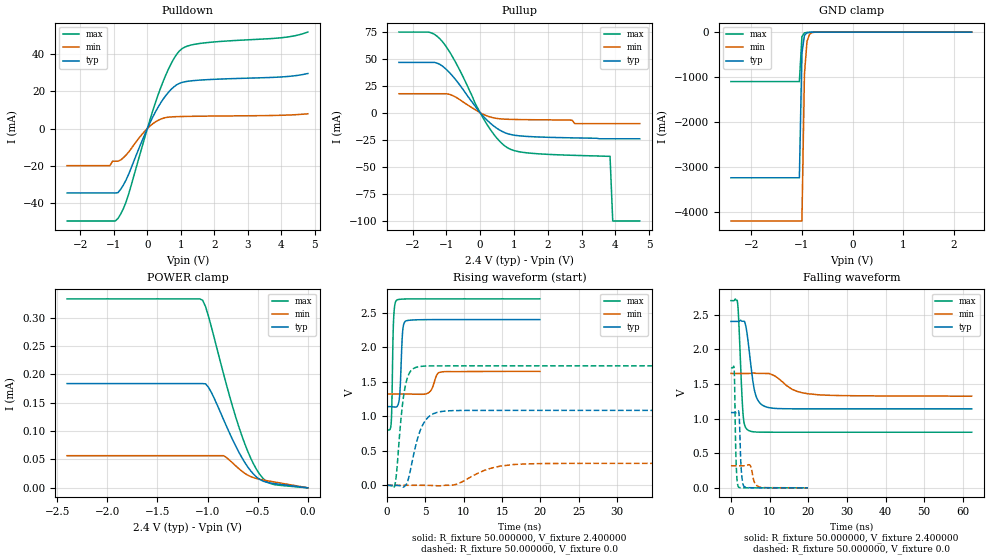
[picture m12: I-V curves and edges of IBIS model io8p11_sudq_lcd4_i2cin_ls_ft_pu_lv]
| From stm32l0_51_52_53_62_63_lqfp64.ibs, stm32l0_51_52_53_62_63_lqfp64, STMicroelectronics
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|   Model io8p11_sudq_lcd4_i2cin_ls_ft_pu_lv
[Model]  io8p11_sudq_lcd4_i2cin_ls_ft_pu_lv
Model_type I/O
Polarity   Non-Inverting
Enable   Active-Low
Vinl =   0.720000V
Vinh =   1.680000V
Vmeas =  1.200000V
Cref =   50.000000pF
Rref =   100.000000M
Vref =   0.0V
C_comp   2.470900pF   2.435200pF   2.490500pF
[Temperature Range]   25.000000   0.105000k   -40.000000
[Pullup Reference]   2.400000V   1.650000V   2.700000V
[Pulldown Reference]   0.0V   0.0V   0.0V
[POWER Clamp Reference]   2.400000V   1.650000V   2.700000V
[GND Clamp Reference]   0.0V   0.0V   0.0V
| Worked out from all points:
|   slope of the pulldown table from 0 to 0.36 V, typ, clamps not added: 28.5 ohm
|   slope of the pullup table from 0 to 0.36 V, typ, clamps not added: 32.2 ohm
|   GND clamp passes 1 mA (typ) near -0.64 V on its own axis
|   rising waveform, R_fixture 50.000000, V_fixture 2.400000: 20-80 % time 284ps typ, 635ps min, 195ps max; typ from 1.14 V to 2.4 V
|   rising waveform, R_fixture 50.000000, V_fixture 0.0: 20-80 % time 1.58ns typ, 3.82ns min, 923ps max; typ from 0.001 V to 1.09 V
|   falling waveform, R_fixture 50.000000, V_fixture 2.400000: 20-80 % time 1.79ns typ, 5.22ns min, 901ps max; typ from 2.4 V to 1.14 V
|   falling waveform, R_fixture 50.000000, V_fixture 0.0: 20-80 % time 466ps typ, 846ps min, 367ps max; typ from 1.09 V to 0.001 V
[Pulldown]
|Voltage   I(typ)   I(min)   I(max)
-2.4V     -34.71mA   -20mA      -49.82mA
-1.12V    -34.71mA   -20mA      -49.82mA
-1.04V    -34.71mA   -17.6mA    -49.82mA
-880mV    -34.55mA   -17.6mA    -48.46mA
-560mV    -24.65mA   -12.68mA   -35.33mA
0V        0A         0A         0A
400mV     13.84mA    5.066mA    22.03mA
720mV     21.25mA    6.254mA    35.26mA
1.04V     24.83mA    6.464mA    43.02mA
1.6V      26.11mA    6.627mA    45.88mA
4V        27.76mA    7.125mA    48.87mA
4.8V      29.64mA    7.94mA     51.96mA
[Pullup]
|Voltage   I(typ)   I(min)   I(max)
-2.4V     46.57mA    17.6mA     74.62mA
-1.52V    46.57mA    17.6mA     74.51mA
-1.2V     44.84mA    17.6mA     68.64mA
-720mV    30.34mA    14.43mA    46.24mA
-160mV    6.617mA    3.074mA    9.467mA
160mV     -5.477mA   -2.361mA   -8.695mA
480mV     -14.04mA   -5.167mA   -22.91mA
800mV     -19.21mA   -5.978mA   -32.18mA
1.52V     -22.07mA   -6.4mA     -37.42mA
3.84V     -24mA      -10mA      -40.2mA
3.92V     -24mA      -10mA      -100mA
4.72V     -24mA      -10mA      -100mA
[GND_clamp]
|Voltage   I(typ)   I(min)   I(max)
-2.4V     -3.237A    -4.197A    -1.1A
-1.05V    -3.237A    -4.197A    -1.1A
-1V       -475.5mA   -4.197A    -104.1mA
-950mV    -76.08mA   -935.1mA   -18.44mA
-900mV    -16.57mA   -212.6mA   -9.263mA
-850mV    -6.62mA    -50.88mA   -6.764mA
-800mV    -4.092mA   -13.84mA   -4.994mA
-650mV    -1.07mA    -1.21mA    -1.175mA
2.35V     0A         0A         0A
[POWER_clamp]
|Voltage   I(typ)   I(min)   I(max)
-2.4V     183.7uA    56.67uA    333uA
-1.05V    183.7uA    56.67uA    330.8uA
-1.02V    183.2uA    56.67uA    319.3uA
-960mV    167.4uA    56.67uA    282.2uA
-840mV    120.1uA    56.67uA    200.3uA
-750mV    84.75uA    43.78uA    142.9uA
-690mV    63.55uA    34.11uA    108.5uA
-600mV    37.04uA    22.45uA    64.63uA
-510mV    18.73uA    16.35uA    31.91uA
-450mV    12.06uA    14.02uA    17.25uA
-360mV    8.154uA    11.11uA    6.782uA
0V        0A         0A         0A
[Ramp]
| variable   typ   min   max
dV/dt_r  0.65095/1.57689n   0.19037/3.81345n   1.03799/0.92070n
dV/dt_f  0.75618/1.79071n   0.19410/5.20586n   1.13779/0.89869n
R_load = 50.000000
[Rising Waveform]
R_fixture= 50.000000
V_fixture= 2.400000
V_fixture_min= 1.650000
V_fixture_max= 2.700000
|time   V(typ)   V(min)   V(max)
0s        1.14V      1.323V     802.6mV
560.6ps   1.139V     1.323V     922.5mV
840.8ps   1.136V     1.323V     2.349V
1.241ns   1.137V     1.323V     2.679V
1.642ns   1.29V      1.323V     2.693V
2.082ns   2.272V     1.323V     2.697V
2.442ns   2.379V     1.323V     2.698V
5.365ns   2.399V     1.337V     2.7V
7.127ns   2.4V       1.642V     2.7V
19.94ns   2.4V       1.65V      2.7V
[Rising Waveform]
R_fixture= 50.000000
V_fixture= 0.0
V_fixture_min= 0.0
V_fixture_max= 0.0
|time   V(typ)   V(min)   V(max)
0s        878uV      1.336mV    740.1uV
1.001ns   988.9uV    1.333mV    -9.992mV
1.251ns   171.7uV    1.33mV     183.2mV
1.877ns   -9.692mV   1.327mV    1.023V
2.377ns   -4.441mV   1.343mV    1.433V
4.004ns   684.7mV    1.414mV    1.715V
5.38ns    987.2mV    -155.6uV   1.728V
7.883ns   1.079V     1.455mV    1.73V
16.52ns   1.086V     302mV      1.73V
62.31ns   1.086V     318.6mV    1.73V
[Falling Waveform]
R_fixture= 50.000000
V_fixture= 2.400000
V_fixture_min= 1.650000
V_fixture_max= 2.700000
|time   V(typ)   V(min)   V(max)
0s        2.4V       1.65V      2.7V
1.752ns   2.4V       1.65V      2.654V
2.002ns   2.401V     1.65V      2.432V
3.128ns   2.403V     1.65V      1.068V
3.754ns   2.356V     1.65V      875.3mV
4.505ns   2.081V     1.65V      829.9mV
6.256ns   1.367V     1.653V     806.8mV
9.259ns   1.165V     1.65V      803mV
19.77ns   1.14V      1.359V     802.6mV
62.31ns   1.14V      1.323V     802.6mV
[Falling Waveform]
R_fixture= 50.000000
V_fixture= 0.0
V_fixture_min= 0.0
V_fixture_max= 0.0
|time   V(typ)   V(min)   V(max)
0s        1.086V     318.6mV    1.73V
840.8ps   1.086V     318.6mV    1.707V
1.361ns   1.085V     318.6mV    336.4mV
1.962ns   1.109V     318.6mV    12.96mV
2.202ns   958.9mV    318.6mV    4.928mV
2.683ns   249.7mV    318.4mV    2.655mV
3.403ns   20.96mV    318.5mV    1.789mV
4.925ns   2.674mV    328.2mV    1.01mV
7.608ns   1.264mV    8.525mV    763.3uV
19.94ns   878uV      1.336mV    740.1uV
